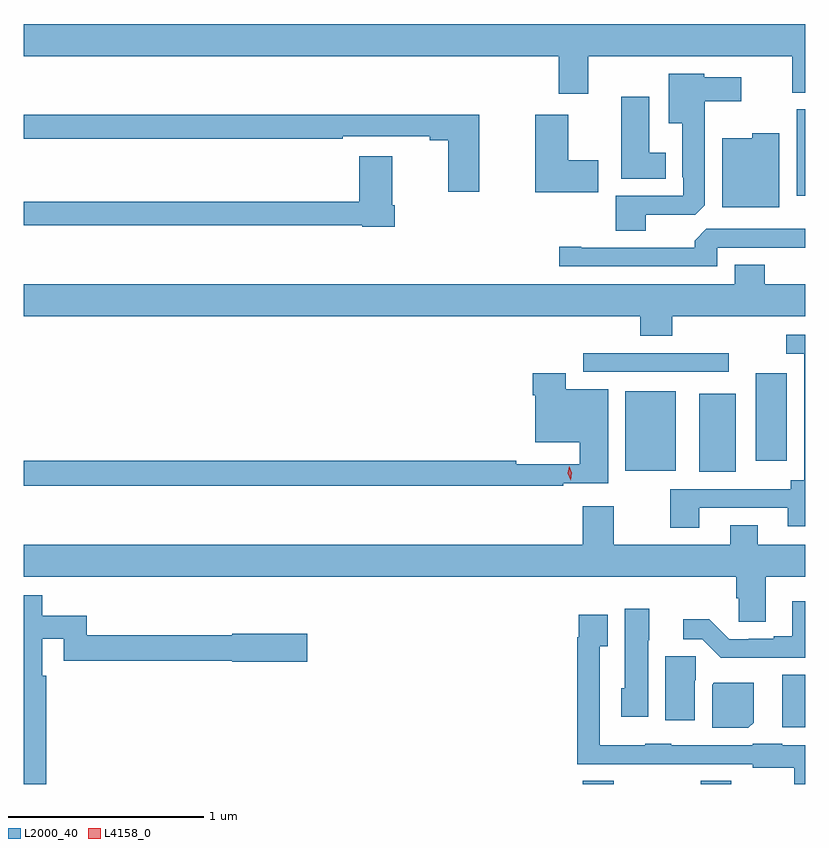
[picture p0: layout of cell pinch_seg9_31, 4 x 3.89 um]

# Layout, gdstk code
import gdstk
lib = gdstk.Library(unit=1e-6, precision=1e-09)
def R(c, l, rs):  # rectangles x0, y0, x1, y1
    for r in rs: c.add(gdstk.rectangle(r[:2], r[2:], *l))
def P(c, l, *ps):  # polygons
    for p in ps: c.add(gdstk.Polygon(p, *l))
L2000_40 = (2000, 40)
L4158_0 = (4158, 0)

pinch_seg9_31 = lib.new_cell('pinch_seg9_31')
R(pinch_seg9_31, L2000_40, [(926.381,1214.007,926.541,1214.024), (926.986,1214.007,927.141,1214.024), (927.404,1214.297,927.521,1214.566), (926.978,1215.605,927.166,1216.003), (926.6,1215.611,926.857,1216.018), (927.266,1215.66,927.427,1216.108), (926.385,1216.116,927.13,1216.212), (927.476,1217.016,927.521,1217.46)])
P(pinch_seg9_31, L2000_40, [(926.41,1217.732),(927.455,1217.732),(927.455,1217.545),(927.521,1217.545),(927.521,1217.896),(923.521,1217.896),(923.521,1217.732),(926.258,1217.732),(926.258,1217.538),(926.41,1217.538)],
  [(926.704,1216.92),(926.958,1216.92),(927.007,1216.969),(927.007,1217.501),(927.193,1217.501),(927.193,1217.623),(927.003,1217.623),(927.003,1217.641),(926.822,1217.641),(926.822,1217.387),(926.891,1217.387),(926.891,1217.113),(926.895,1217.113),(926.895,1217.016),(926.552,1217.016),(926.552,1216.837),(926.704,1216.837)],
  [(926.806,1217.236),(926.722,1217.236),(926.722,1217.524),(926.579,1217.524),(926.579,1217.105),(926.806,1217.105)],
  [(925.852,1217.431),(923.521,1217.431),(923.521,1217.31),(925.154,1217.31),(925.154,1217.322),(925.598,1217.322),(925.598,1217.302),(925.694,1217.302),(925.694,1217.037),(925.852,1217.037)],
  [(926.461,1217.199),(926.308,1217.199),(926.308,1217.431),(926.138,1217.431),(926.138,1217.036),(926.461,1217.036)],
  [(927.388,1217.338),(927.249,1217.338),(927.249,1217.311),(927.095,1217.311),(927.095,1216.958),(927.388,1216.958)],
  [(925.421,1216.969),(925.408,1216.969),(925.408,1217.218),(925.238,1217.218),(925.238,1216.987),(923.521,1216.987),(923.521,1216.866),(925.254,1216.866),(925.254,1216.858),(925.421,1216.858)],
  [(927.069,1216.752),(927.521,1216.752),(927.521,1216.848),(927.015,1216.848),(926.954,1216.786),(926.954,1216.752),(926.374,1216.752),(926.374,1216.757),(926.262,1216.757),(926.262,1216.656),(927.069,1216.656)],
  [(926.84,1216.4),(927.521,1216.4),(927.521,1216.564),(927.314,1216.564),(927.314,1216.663),(927.161,1216.663),(927.161,1216.564),(923.521,1216.564),(923.521,1216.4),(926.675,1216.4),(926.675,1216.301),(926.84,1216.301)],
  [(926.977,1215.42),(927.431,1215.42),(927.431,1215.326),(927.521,1215.326),(927.521,1216.305),(927.423,1216.305),(927.423,1216.209),(927.516,1216.209),(927.516,1215.562),(927.446,1215.562),(927.446,1215.516),(926.83,1215.516),(926.83,1215.318),(926.977,1215.318)],
  [(926.282,1215.546),(926.512,1215.546),(926.512,1216.027),(926.296,1216.027),(926.296,1216.108),(926.126,1216.108),(926.126,1215.995),(926.138,1215.995),(926.138,1215.755),(926.366,1215.755),(926.366,1215.642),(926.042,1215.642),(926.042,1215.662),(923.521,1215.662),(923.521,1215.534),(926.282,1215.534)],
  [(927.319,1215.068),(927.521,1215.068),(927.521,1215.232),(927.277,1215.232),(927.277,1215.331),(927.137,1215.331),(927.137,1215.232),(926.541,1215.232),(926.541,1215.427),(926.381,1215.427),(926.381,1215.232),(923.521,1215.232),(923.521,1215.068),(927.167,1215.068),(927.167,1214.958),(927.18,1214.958),(927.18,1214.836),(927.319,1214.836)],
  [(923.636,1214.561),(923.616,1214.561),(923.616,1214.749),(923.727,1214.749),(923.727,1214.638),(924.588,1214.638),(924.588,1214.633),(924.973,1214.633),(924.973,1214.775),(924.588,1214.775),(924.588,1214.767),(923.843,1214.767),(923.843,1214.867),(923.617,1214.867),(923.617,1214.974),(923.521,1214.974),(923.521,1214.007),(923.636,1214.007)],
  [(927.521,1214.941),(927.455,1214.941),(927.455,1214.764),(927.359,1214.764),(927.359,1214.751),(927.232,1214.751),(927.232,1214.748),(927.132,1214.748),(927.03,1214.851),(926.895,1214.851),(926.895,1214.748),(926.994,1214.748),(927.089,1214.654),(927.521,1214.654)],
  [(926.716,1214.742),(926.722,1214.742),(926.722,1214.905),(926.597,1214.905),(926.597,1214.496),(926.579,1214.496),(926.579,1214.352),(926.716,1214.352)],
  [(927.521,1214.206),(927.402,1214.206),(927.402,1214.212),(927.252,1214.212),(927.252,1214.205),(926.835,1214.205),(926.835,1214.212),(926.703,1214.212),(926.703,1214.206),(926.469,1214.206),(926.469,1214.711),(926.509,1214.711),(926.509,1214.872),(926.361,1214.872),(926.361,1214.759),(926.353,1214.759),(926.353,1214.109),(926.603,1214.109),(926.603,1214.108),(926.835,1214.108),(926.835,1214.109),(927.252,1214.109),(927.252,1214.09),(927.465,1214.09),(927.465,1214.007),(927.521,1214.007)],
  [(926.956,1214.538),(926.96,1214.538),(926.96,1214.661),(926.804,1214.661),(926.804,1214.334),(926.956,1214.334)],
  [(927.256,1214.32),(927.256,1214.524),(927.052,1214.524),(927.044,1214.516),(927.044,1214.294),(927.23,1214.294)])
P(pinch_seg9_31, L4158_0, [(926.32,1215.562),(926.32,1215.562),(926.306,1215.596),(926.312,1215.633),(926.312,1215.634),(926.312,1215.633),(926.326,1215.599),(926.32,1215.562)])

lib.write_gds('pinch_seg9_31.gds')
